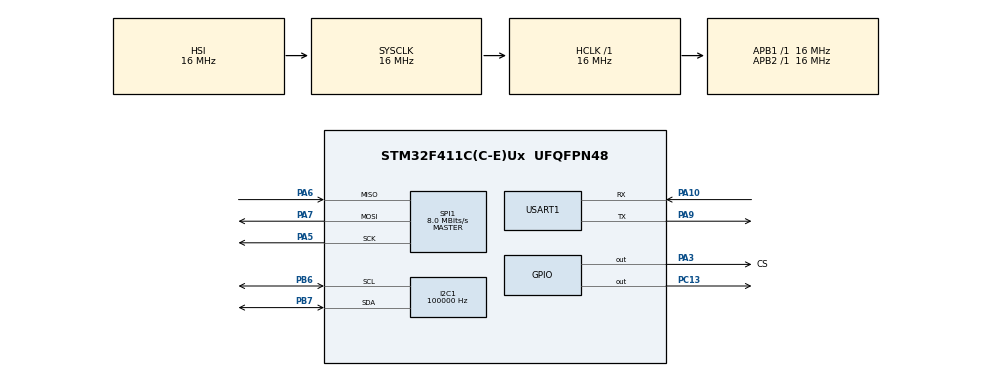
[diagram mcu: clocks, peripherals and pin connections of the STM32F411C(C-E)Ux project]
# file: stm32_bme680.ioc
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FREERTOS.Tasks01=defaultTask,0,128,StartDefaultTask,Default,NULL,Dynamic,NULL,NULL
I2C1.ClockSpeed=100000
I2C1.I2C_Mode=I2C_Standard
Mcu.Family=STM32F4
Mcu.Name=STM32F411C(C-E)Ux
Mcu.Package=UFQFPN48
NVIC.PriorityGroup=NVIC_PRIORITYGROUP_4
NVIC.SPI1_IRQn=true\:5\:0\:false\:false\:true\:true\:true\:true\:true
NVIC.USART1_IRQn=true\:6\:0\:true\:false\:true\:true\:true\:true\:true
PA10.Mode=Asynchronous
PA10.Signal=USART1_RX
PA13.Mode=Serial_Wire
PA13.Signal=SYS_JTMS-SWDIO
PA14.Mode=Serial_Wire
PA14.Signal=SYS_JTCK-SWCLK
PA3.GPIO_Label=CS
PA3.GPIO_Speed=GPIO_SPEED_FREQ_LOW
PA3.Signal=GPIO_Output
PA5.Mode=Full_Duplex_Master
PA5.Signal=SPI1_SCK
PA6.Mode=Full_Duplex_Master
PA6.Signal=SPI1_MISO
PA7.Mode=Full_Duplex_Master
PA7.Signal=SPI1_MOSI
PA9.Mode=Asynchronous
PA9.Signal=USART1_TX
PB6.Mode=I2C
PB6.Signal=I2C1_SCL
PB7.Mode=I2C
PB7.Signal=I2C1_SDA
PC13-ANTI_TAMP.Signal=GPIO_Output
ProjectManager.HeapSize=0x200
ProjectManager.StackSize=0x400
ProjectManager.TargetToolchain=STM32CubeIDE
RCC.AHBFreq_Value=16000000
RCC.APB1Freq_Value=16000000
RCC.APB2Freq_Value=16000000
RCC.CortexFreq_Value=16000000
RCC.HSE_VALUE=25000000
RCC.HSI_VALUE=16000000
RCC.LSE_VALUE=32768
RCC.SYSCLKFreq_VALUE=16000000
RCC.VCOOutputFreq_Value=192000000
SPI1.CalculateBaudRate=8.0 MBits/s
SPI1.Direction=SPI_DIRECTION_2LINES
SPI1.Mode=SPI_MODE_MASTER
SPI1.VirtualType=VM_MASTER
TIM3.Period=999
TIM3.Prescaler=15
USART1.VirtualMode=VM_ASYNC
VP_FREERTOS_VS_CMSIS_V1.Mode=CMSIS_V1
VP_TIM3_VS_ClockSourceINT.Mode=Internal
board=custom

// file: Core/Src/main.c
/* USER CODE BEGIN Header */
/**
 ******************************************************************************
 * @file           : main.c
 * @brief          : Main program body
 ******************************************************************************
 * @attention
 *
 * Copyright (c) 2024 STMicroelectronics.
 * All rights reserved.
 *
 * This software is licensed under terms that can be found in the LICENSE file
 * in the root directory of this software component.
 * If no LICENSE file comes with this software, it is provided AS-IS.
 *
 ******************************************************************************
 */
/* USER CODE END Header */
#include "main.h"
#include "cmsis_os.h"

/* USER CODE BEGIN Includes */
#include "stdio.h"
#include "string.h"
#include "stdint.h"
#include "BME68x/bme68x.h"
#include "BME68x/common.h"
#include "SSD1306/menu.h"
#include "SSD1306/ssd1306.h"
#include "SSD1306/ssd1306_conf.h"
#include "SSD1306/ssd1306_fonts.h"
#include "SSD1306/ssd1306_tests.h"
#include "W25Q32/W25Q32.h"
#include "FreeRTOS.h"
#include "task.h"
#include "queue.h"
#include "semphr.h"
/* USER CODE END Includes */

I2C_HandleTypeDef hi2c1;

SPI_HandleTypeDef hspi1;

TIM_HandleTypeDef htim3;

UART_HandleTypeDef huart1;

osThreadId defaultTaskHandle;
/* USER CODE BEGIN PV */
int acc_x, acc_y, acc_z, gyz_x, gyz_y, gyz_z;
float tem, gas;

uint8_t uart_recv = 0;
uint8_t uart_chr;
uint8_t uart_buf[100];
uint8_t tx[1024];
uint8_t uart_buf_cnt = 0;
uint8_t uart_chr;
uint8_t uart_last_rcv = 0;

uint8_t uart_data = 1;
uint8_t w25qxx_data = 1;

uint8_t w25qxx_str[1024];

uint8_t w25qxx_output_str[1024];

SemaphoreHandle_t mutex1;
QueueHandle_t uart_queue;
QueueHandle_t w25qxx_queue;

bool rx_spi_flg = 0;
/* USER CODE END PV */

void SystemClock_Config(void);
static void MX_GPIO_Init(void);
static void MX_I2C1_Init(void);
static void MX_USART1_UART_Init(void);
static void MX_TIM3_Init(void);
static void MX_SPI1_Init(void);
void StartDefaultTask(void const * argument);

/* USER CODE BEGIN PFP */
void uart_task();
void w25qxx_task();
void ssd1306_task();
void clear_uart_buf();

void extract_data(const uint8_t *input, int *acc_x, int *acc_y, int *acc_z,
					int *gyz_x, int *gyz_y, int *gyz_z, float *tem, float *gas);
void compress_data(const int acc_x, const int acc_y, const int acc_z,
		const int gyz_x, const int gyz_y, const int gyz_z, const float tem, const float gas);
void Handle_Command();
void HAL_UART_RxCpltCallback(UART_HandleTypeDef *huart);
void HAL_SPI_TxRxCpltCallback(SPI_HandleTypeDef *hspi);
void response(char *rsp);
/* USER CODE END PFP */

int main(void)
{

  /* MCU Configuration--------------------------------------------------------*/

  /* Reset of all peripherals, Initializes the Flash interface and the Systick. */
  HAL_Init();

  /* Configure the system clock */
  SystemClock_Config();

  /* Initialize all configured peripherals */
  MX_GPIO_Init();
  MX_I2C1_Init();
  MX_USART1_UART_Init();
  MX_TIM3_Init();
  MX_SPI1_Init();
  /* USER CODE BEGIN 2 */
	  ssd1306_Init(&hi2c1);
	  W25Q32_Init(&hspi1, GPIOA, GPIO_PIN_3);
//	  sssd1306_temgas(&hi2c1, 1203, 2230, 312, 1243, 2342, 182, 30.023, 980.322);
	  HAL_UART_Receive_IT(&huart1, &uart_chr, sizeof(uart_chr));
	  ssd1306_wait(&hi2c1);
  /* USER CODE END 2 */

  /* Create the thread(s) */
  /* definition and creation of defaultTask */
  osThreadDef(defaultTask, StartDefaultTask, osPriorityNormal, 0, 128);
  defaultTaskHandle = osThreadCreate(osThread(defaultTask), NULL);

  /* USER CODE BEGIN RTOS_THREADS */
  /* add threads, ... */
  	uart_queue = xQueueCreate(1, sizeof(uint8_t));
  	w25qxx_queue = xQueueCreate(1, sizeof(uint8_t));
  	mutex1 = xSemaphoreCreateMutex();
    xTaskCreate(uart_task, "UART task", 2048, NULL, 2, NULL);
	xTaskCreate(w25qxx_task, "W25QXX task", 2048, NULL, 1, NULL);
	xTaskCreate(ssd1306_task, "SSD1306 task", 2048, NULL, 1, NULL);
  /* USER CODE END RTOS_THREADS */

  /* Start scheduler */
  osKernelStart();
  /* We should never get here as control is now taken by the scheduler */
  /* Infinite loop */
  /* USER CODE BEGIN WHILE */
//	while (0) {

    /* USER CODE END WHILE */

    /* USER CODE BEGIN 3 */
//	}
  /* USER CODE END 3 */
}

void SystemClock_Config(void)
{
  RCC_OscInitTypeDef RCC_OscInitStruct = {0};
  RCC_ClkInitTypeDef RCC_ClkInitStruct = {0};

  /** Configure the main internal regulator output voltage
  */
  __HAL_RCC_PWR_CLK_ENABLE();
  __HAL_PWR_VOLTAGESCALING_CONFIG(PWR_REGULATOR_VOLTAGE_SCALE1);

  /** Initializes the RCC Oscillators according to the specified parameters
  * in the RCC_OscInitTypeDef structure.
  */
  RCC_OscInitStruct.OscillatorType = RCC_OSCILLATORTYPE_HSI;
  RCC_OscInitStruct.HSIState = RCC_HSI_ON;
  RCC_OscInitStruct.HSICalibrationValue = RCC_HSICALIBRATION_DEFAULT;
  RCC_OscInitStruct.PLL.PLLState = RCC_PLL_NONE;
  if (HAL_RCC_OscConfig(&RCC_OscInitStruct) != HAL_OK)
  {
    Error_Handler();
  }

  /** Initializes the CPU, AHB and APB buses clocks
  */
  RCC_ClkInitStruct.ClockType = RCC_CLOCKTYPE_HCLK|RCC_CLOCKTYPE_SYSCLK
                              |RCC_CLOCKTYPE_PCLK1|RCC_CLOCKTYPE_PCLK2;
  RCC_ClkInitStruct.SYSCLKSource = RCC_SYSCLKSOURCE_HSI;
  RCC_ClkInitStruct.AHBCLKDivider = RCC_SYSCLK_DIV1;
  RCC_ClkInitStruct.APB1CLKDivider = RCC_HCLK_DIV1;
  RCC_ClkInitStruct.APB2CLKDivider = RCC_HCLK_DIV1;

  if (HAL_RCC_ClockConfig(&RCC_ClkInitStruct, FLASH_LATENCY_0) != HAL_OK)
  {
    Error_Handler();
  }
}

static void MX_I2C1_Init(void)
{

  hi2c1.Instance = I2C1;
  hi2c1.Init.ClockSpeed = 100000;
  hi2c1.Init.DutyCycle = I2C_DUTYCYCLE_2;
  hi2c1.Init.OwnAddress1 = 0;
  hi2c1.Init.AddressingMode = I2C_ADDRESSINGMODE_7BIT;
  hi2c1.Init.DualAddressMode = I2C_DUALADDRESS_DISABLE;
  hi2c1.Init.OwnAddress2 = 0;
  hi2c1.Init.GeneralCallMode = I2C_GENERALCALL_DISABLE;
  hi2c1.Init.NoStretchMode = I2C_NOSTRETCH_DISABLE;
  if (HAL_I2C_Init(&hi2c1) != HAL_OK)
  {
    Error_Handler();
  }

}

static void MX_SPI1_Init(void)
{

  /* SPI1 parameter configuration*/
  hspi1.Instance = SPI1;
  hspi1.Init.Mode = SPI_MODE_MASTER;
  hspi1.Init.Direction = SPI_DIRECTION_2LINES;
  hspi1.Init.DataSize = SPI_DATASIZE_8BIT;
  hspi1.Init.CLKPolarity = SPI_POLARITY_LOW;
  hspi1.Init.CLKPhase = SPI_PHASE_1EDGE;
  hspi1.Init.NSS = SPI_NSS_SOFT;
  hspi1.Init.BaudRatePrescaler = SPI_BAUDRATEPRESCALER_2;
  hspi1.Init.FirstBit = SPI_FIRSTBIT_MSB;
  hspi1.Init.TIMode = SPI_TIMODE_DISABLE;
  hspi1.Init.CRCCalculation = SPI_CRCCALCULATION_DISABLE;
  hspi1.Init.CRCPolynomial = 10;
  if (HAL_SPI_Init(&hspi1) != HAL_OK)
  {
    Error_Handler();
  }

}

static void MX_TIM3_Init(void)
{

  TIM_ClockConfigTypeDef sClockSourceConfig = {0};
  TIM_MasterConfigTypeDef sMasterConfig = {0};

  htim3.Instance = TIM3;
  htim3.Init.Prescaler = 15;
  htim3.Init.CounterMode = TIM_COUNTERMODE_UP;
  htim3.Init.Period = 999;
  htim3.Init.ClockDivision = TIM_CLOCKDIVISION_DIV1;
  htim3.Init.AutoReloadPreload = TIM_AUTORELOAD_PRELOAD_DISABLE;
  if (HAL_TIM_Base_Init(&htim3) != HAL_OK)
  {
    Error_Handler();
  }
  sClockSourceConfig.ClockSource = TIM_CLOCKSOURCE_INTERNAL;
  if (HAL_TIM_ConfigClockSource(&htim3, &sClockSourceConfig) != HAL_OK)
  {
    Error_Handler();
  }
  sMasterConfig.MasterOutputTrigger = TIM_TRGO_RESET;
  sMasterConfig.MasterSlaveMode = TIM_MASTERSLAVEMODE_DISABLE;
  if (HAL_TIMEx_MasterConfigSynchronization(&htim3, &sMasterConfig) != HAL_OK)
  {
    Error_Handler();
  }

}

static void MX_USART1_UART_Init(void)
{

  huart1.Instance = USART1;
  huart1.Init.BaudRate = 115200;
  huart1.Init.WordLength = UART_WORDLENGTH_8B;
  huart1.Init.StopBits = UART_STOPBITS_1;
  huart1.Init.Parity = UART_PARITY_NONE;
  huart1.Init.Mode = UART_MODE_TX_RX;
  huart1.Init.HwFlowCtl = UART_HWCONTROL_NONE;
  huart1.Init.OverSampling = UART_OVERSAMPLING_16;
  if (HAL_UART_Init(&huart1) != HAL_OK)
  {
    Error_Handler();
  }

}

static void MX_GPIO_Init(void)
{
  GPIO_InitTypeDef GPIO_InitStruct = {0};

  /* GPIO Ports Clock Enable */
  __HAL_RCC_GPIOC_CLK_ENABLE();
  __HAL_RCC_GPIOA_CLK_ENABLE();
  __HAL_RCC_GPIOB_CLK_ENABLE();

  /*Configure GPIO pin Output Level */
  HAL_GPIO_WritePin(GPIOC, GPIO_PIN_13, GPIO_PIN_RESET);

  /*Configure GPIO pin Output Level */
  HAL_GPIO_WritePin(CS_GPIO_Port, CS_Pin, GPIO_PIN_RESET);

  /*Configure GPIO pin : PC13 */
  GPIO_InitStruct.Pin = GPIO_PIN_13;
  GPIO_InitStruct.Mode = GPIO_MODE_OUTPUT_PP;
  GPIO_InitStruct.Pull = GPIO_NOPULL;
  GPIO_InitStruct.Speed = GPIO_SPEED_FREQ_LOW;
  HAL_GPIO_Init(GPIOC, &GPIO_InitStruct);

  /*Configure GPIO pin : CS_Pin */
  GPIO_InitStruct.Pin = CS_Pin;
  GPIO_InitStruct.Mode = GPIO_MODE_OUTPUT_PP;
  GPIO_InitStruct.Pull = GPIO_NOPULL;
  GPIO_InitStruct.Speed = GPIO_SPEED_FREQ_LOW;
  HAL_GPIO_Init(CS_GPIO_Port, &GPIO_InitStruct);

}

/* USER CODE BEGIN 4 */
void uart_task() {
	for (;;) {
		Handle_Command();
		if (uart_recv) {
			if (xSemaphoreTake(mutex1, portMAX_DELAY) == pdTRUE) {
				response("UART have mutex\n");
				xQueueSend(uart_queue, (void*) &uart_data, (TickType_t) 0);
				uart_recv = 0;
				xSemaphoreGive(mutex1);
				clear_uart_buf();
				response("UART release mutex\n");
			}
		}
		vTaskDelay(1000 / portTICK_PERIOD_MS);
	}
}

void w25qxx_task() {
	for (;;) {
		if (uxQueueMessagesWaiting(uart_queue)) {
			if (xSemaphoreTake(mutex1, portMAX_DELAY) == pdTRUE) {
				response("W25Qxx have mutex\n");
				compress_data(acc_x, acc_y, acc_z, gyz_x, gyz_y, gyz_z, tem, gas);
				W25Q32_erase4k(10 * SECTOR_SIZE);
				W25Q32_WriteData(w25qxx_str, 10 * SECTOR_SIZE, strlen((char*) w25qxx_str));
				w25qxx_data = strlen((char*) w25qxx_str);
				xQueueSend(w25qxx_queue, (void*) &w25qxx_data, (TickType_t) 0);
				ssd1306_info(&hi2c1, acc_x, acc_y, acc_z, gyz_x, gyz_y, gyz_z, tem, gas);
				xSemaphoreGive(mutex1);
				response("W25Qxx release mutex\n");
			}
		}
		vTaskDelay(100 / portTICK_PERIOD_MS);
	}
}

void ssd1306_task() {
	uint8_t len = 0;
	for (;;) {
		if (uxQueueMessagesWaiting(w25qxx_queue) != 0) {
			if (xSemaphoreTake(mutex1, portMAX_DELAY) == pdTRUE) {
				response("SSD1306 have mutex\n");
				xQueueReceive(w25qxx_queue, &len, portMAX_DELAY);
				W25Q32_ReadData(w25qxx_output_str, 10 * SECTOR_SIZE, len);
				HAL_UART_Transmit(&huart1, w25qxx_output_str, strlen((char*) w25qxx_output_str), 500);
				xSemaphoreGive(mutex1);
			}
		}
		vTaskDelay(100 / portTICK_PERIOD_MS);
	}
}
void Handle_Command() {
	if (HAL_GetTick() - uart_last_rcv >= 100 && strlen((char*) uart_buf) > 35) {
		if (strlen((char*) uart_buf) > 40) {
			extract_data(uart_buf, &acc_x, &acc_y, &acc_z, &gyz_x, &gyz_y, &gyz_z, &tem, &gas);
			clear_uart_buf();
			uart_recv = 1;
			response("UART OK\n");
			}
		else {
			response("UART fail\n");
			clear_uart_buf();
		}
	}

}

void HAL_UART_RxCpltCallback(UART_HandleTypeDef *huart) {
	if (huart->Instance == huart1.Instance) {
		if (uart_buf_cnt < sizeof(uart_buf)) {
			uart_buf[uart_buf_cnt] = uart_chr;
		}
		uart_last_rcv = HAL_GetTick();
		uart_buf_cnt++;
		HAL_UART_Receive_IT(&huart1, &uart_chr, sizeof(uart_chr));
	}
}

void clear_uart_buf() {
	memset(uart_buf, 0, strlen((char*) uart_buf));
	uart_buf_cnt = 0;
}

void extract_data(const uint8_t *input, int *acc_x, int *acc_y, int *acc_z,
					int *gyz_x, int *gyz_y, int *gyz_z, float *tem, float *gas) {
	sscanf((char*) input, "X:%d Y:%d Z:%d X:%d Y:%d Z:%d t:%f g:%f", acc_x, acc_y, acc_z, gyz_x, gyz_y, gyz_z, tem, gas);
}

void compress_data(const int acc_x, const int acc_y, const int acc_z,
		const int gyz_x, const int gyz_y, const int gyz_z, const float tem, const float gas) {
	sprintf((char*) w25qxx_str, "X:%d Y:%d Z:%d X:%d Y:%d Z:%d t:%f g:%f", acc_x, acc_y, acc_z, gyz_x, gyz_y, gyz_z, tem, gas);
}

void response(char *rsp) {
//	sprintf((char*) tx, "acc\nX:%-4d\tY:%-4d\tZ:%-4d\ngyz\nX:%-4d\tY:%-4d\tZ:%-4d\n\ntem:%-3.3f\tgas:-%4.3f\n",
//			acc_x, acc_y, acc_z, gyz_x, gyz_y, gyz_z, tem, gas);
	HAL_UART_Transmit(&huart1, (uint8_t*) rsp, strlen (rsp), 200);
}

void HAL_SPI_TxRxCpltCallback(SPI_HandleTypeDef *hspi) {
	if (hspi->Instance == hspi1.Instance) {
		rx_spi_flg = 1;
	}
}

/* USER CODE END 4 */

void StartDefaultTask(void const * argument)
{
  for(;;)
  {
    osDelay(1);
  }
}

void Error_Handler(void)
{
	__disable_irq();
	while (1) {
	}
}
